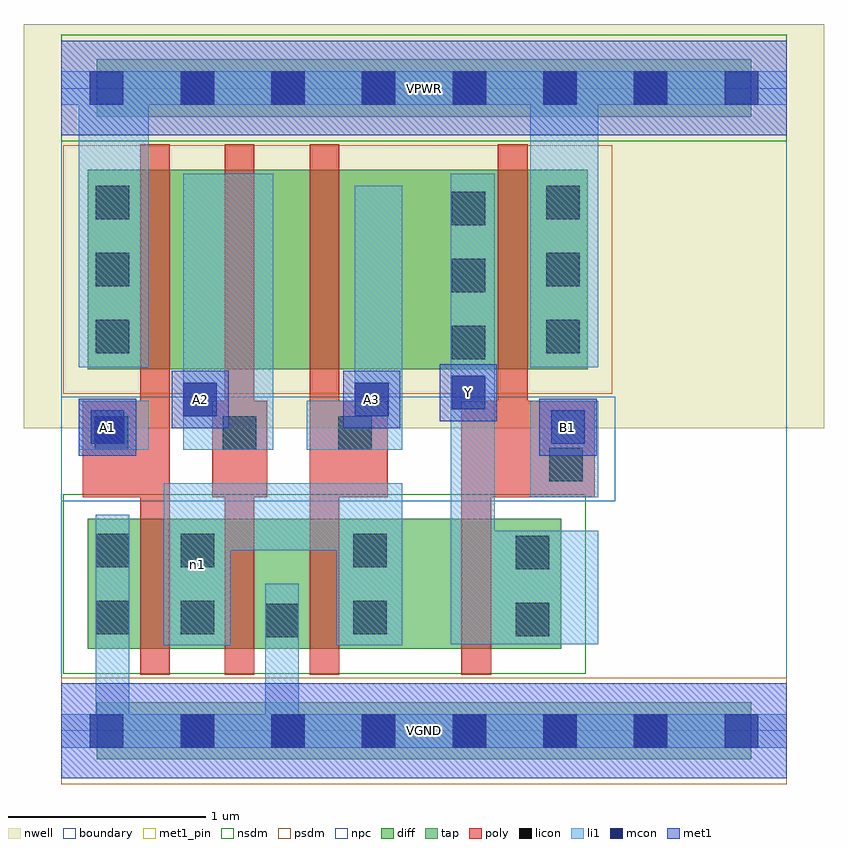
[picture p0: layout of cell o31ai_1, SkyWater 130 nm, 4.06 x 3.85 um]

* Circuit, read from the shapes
.subckt o31ai_1 A1 A2 A3 B1 VGND VPWR Y n1
XM1 n1 A1 VGND VGND sky130_fd_pr__nfet_01v8 w=0.66 l=0.15
XM2 VGND A2 n1 VGND sky130_fd_pr__nfet_01v8 w=0.66 l=0.15
XM3 n1 A3 VGND VGND sky130_fd_pr__nfet_01v8 w=0.66 l=0.15
XM4 Y B1 n1 VGND sky130_fd_pr__nfet_01v8 w=0.66 l=0.15
XM5 n2 A1 VPWR VPWR sky130_fd_pr__pfet_01v8 w=1.01 l=0.15
XM6 n3 A2 n2 VPWR sky130_fd_pr__pfet_01v8 w=1.01 l=0.15
XM7 Y A3 n3 VPWR sky130_fd_pr__pfet_01v8 w=1.01 l=0.15
XM8 VPWR B1 Y VPWR sky130_fd_pr__pfet_01v8 w=1.01 l=0.15
.ends

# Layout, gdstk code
import gdstk
lib = gdstk.Library(unit=1e-6, precision=1e-09)
def R(c, l, rs):  # rectangles x0, y0, x1, y1
    for r in rs: c.add(gdstk.rectangle(r[:2], r[2:], *l))
def A(c, l, x, y, w, h, nx, ny, dx, dy):  # array of equal rectangles
    R(c, l, [(x+i*dx, y+j*dy, x+i*dx+w, y+j*dy+h) for i in range(nx) for j in range(ny)])
nwell = (64, 20)
diff = (65, 20)
tap = (65, 44)
poly = (66, 20)
licon = (66, 44)
li1 = (67, 20)
mcon = (67, 44)
met1_pin = (68, 16)
met1 = (68, 20)
nsdm = (93, 44)
psdm = (94, 20)
npc = (95, 20)
boundary = (235, 4)

o31ai_1 = lib.new_cell('o31ai_1')
R(o31ai_1, nwell, [(-0.19,1.535,3.87,3.585), (0,1.535,3.68,3.585)])
R(o31ai_1, diff, [(0.135,0.415,2.535,1.075), (0.135,1.835,2.67,2.845)])
R(o31ai_1, tap, [(0.18,-0.145,3.5,0.145), (0.18,3.115,3.5,3.405)])
A(o31ai_1, poly, 0.4, 0.285, 0.15, 2.69, 3, 1, 0.43, 0)
R(o31ai_1, poly, [(2.03,0.285,2.18,1.675), (0.11,1.185,0.55,1.675), (0.765,1.185,1.045,1.675), (1.26,1.185,1.655,1.675), (2.03,1.185,2.705,1.675), (2.215,1.185,2.365,2.975)])
A(o31ai_1, licon, 0.605, -0.085, 0.17, 0.17, 6, 2, 0.46, 3.26)
A(o31ai_1, licon, 1.98, 1.885, 0.17, 0.17, 1, 3, 0, 0.34)
A(o31ai_1, licon, 0.175, 1.915, 0.17, 0.17, 1, 3, 0, 0.34)
A(o31ai_1, licon, 2.46, 1.915, 0.17, 0.17, 1, 3, 0, 0.34)
R(o31ai_1, licon, [(1.035,0.475,1.205,0.645), (2.305,0.48,2.475,0.65), (0.175,0.49,0.345,0.66), (0.605,0.49,0.775,0.66), (1.48,0.49,1.65,0.66), (2.305,0.82,2.475,0.99), (0.175,0.83,0.345,1), (0.605,0.83,0.775,1), (1.48,0.83,1.65,1), (2.475,1.265,2.645,1.435), (0.17,1.425,0.34,1.595), (0.82,1.425,0.99,1.595), (1.405,1.425,1.575,1.595)])
R(o31ai_1, li1, [(0,-0.085,3.68,0.085), (0.175,-0.085,0.345,1.095), (1.035,-0.085,1.205,0.745), (0.52,0.435,0.86,1.255), (1.395,0.435,1.73,1.255), (1.975,0.44,2.2,2.825), (1.975,0.44,2.725,1.015), (0.52,0.915,1.73,1.255), (2.38,1.185,2.725,1.675), (0.09,1.425,0.445,1.675), (0.62,1.425,1.075,2.825), (1.245,1.425,1.73,1.675), (1.49,1.425,1.73,2.765), (0.09,1.845,0.445,3.345), (2.38,1.845,2.725,3.345), (0,3.175,3.68,3.345)])
A(o31ai_1, mcon, 0.145, -0.085, 0.17, 0.17, 8, 2, 0.46, 3.26)
R(o31ai_1, mcon, [(0.15,1.455,0.32,1.625), (2.485,1.455,2.655,1.625), (0.62,1.595,0.79,1.765), (1.49,1.595,1.66,1.765), (1.98,1.63,2.15,1.8)])
R(o31ai_1, met1_pin, [(0,-0.24,3.68,0.24), (0.09,1.395,0.38,1.685), (2.425,1.395,2.715,1.685), (0.56,1.535,0.85,1.825), (1.43,1.535,1.72,1.825), (1.92,1.57,2.21,1.86), (0,3.02,3.68,3.5)])
R(o31ai_1, met1, [(0,-0.24,3.68,0.24), (0.09,1.395,0.38,1.685), (2.425,1.395,2.715,1.685), (0.56,1.535,0.85,1.825), (1.43,1.535,1.72,1.825), (1.92,1.57,2.21,1.86), (0,3.02,3.68,3.5)])
R(o31ai_1, nsdm, [(0.01,0.29,2.66,1.2), (0,2.99,3.68,3.53)])
R(o31ai_1, psdm, [(0,-0.27,3.68,0.27), (0.01,1.71,2.795,2.97)])
R(o31ai_1, npc, [(0,1.165,2.81,1.695)])
R(o31ai_1, boundary, [(0,0,3.68,3.26)])
o31ai_1.add(gdstk.Label('n1', (0.69,0.845), layer=67, texttype=5))
o31ai_1.add(gdstk.Label('A1', (0.235,1.54), layer=68, texttype=5))
o31ai_1.add(gdstk.Label('A2', (0.705,1.68), layer=68, texttype=5))
o31ai_1.add(gdstk.Label('A3', (1.575,1.68), layer=68, texttype=5))
o31ai_1.add(gdstk.Label('B1', (2.57,1.54), layer=68, texttype=5))
o31ai_1.add(gdstk.Label('Y', (2.065,1.715), layer=68, texttype=5))
o31ai_1.add(gdstk.Label('VPWR', (1.84,3.26), layer=68, texttype=5))
o31ai_1.add(gdstk.Label('VGND', (1.84,0), layer=68, texttype=5))
o31ai_1.add(gdstk.Label('A1', (0.235,1.54), layer=68, texttype=16))
o31ai_1.add(gdstk.Label('A2', (0.705,1.68), layer=68, texttype=16))
o31ai_1.add(gdstk.Label('A3', (1.575,1.68), layer=68, texttype=16))
o31ai_1.add(gdstk.Label('B1', (2.57,1.54), layer=68, texttype=16))
o31ai_1.add(gdstk.Label('Y', (2.065,1.715), layer=68, texttype=16))
o31ai_1.add(gdstk.Label('VPWR', (1.84,3.26), layer=68, texttype=16))
o31ai_1.add(gdstk.Label('VGND', (1.84,0), layer=68, texttype=16))

lib.write_gds('o31ai_1.gds')
